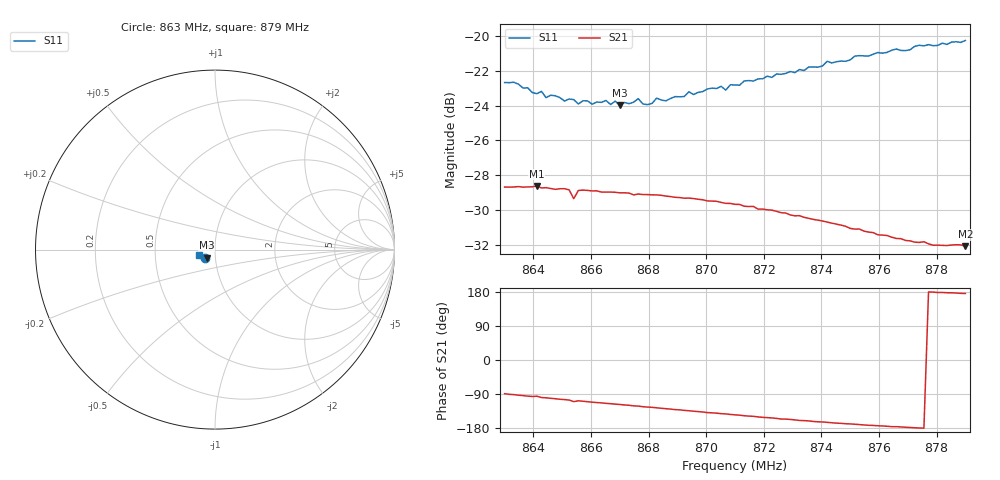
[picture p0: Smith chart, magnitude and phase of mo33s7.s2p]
# HZ S RI R 50
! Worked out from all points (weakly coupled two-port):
!   101 points, 863 MHz to 879 MHz, reference 50 ohm
!   highest |S21| = -28.60 dB at 864.12 MHz (marker M1); lowest = -32.0 dB at 879 MHz (marker M2)
!   lowest |S11| = -24.0 dB at 867 MHz (marker M3), VSWR 1.13, Z = 45.5 - j4.06 ohm
!   |S11| at or under -10 dB: start of sweep to end of sweep
!   S12 and S22 are empty: the file has one direction only
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8.63e8  -0.0567 -0.0466  0.000714 -0.0369  0 0  0 0
8.6332e8  -0.0579 -0.0453  -0.000896 -0.0369  0 0  0 0
8.6412e8  -0.0518 -0.0444  -0.00358 -0.037  0 0  0 0
8.6524e8  -0.0488 -0.0442  -0.00975 -0.0349  0 0  0 0
8.654e8  -0.0473 -0.0455  -0.0116 -0.0321  0 0  0 0
8.6556e8  -0.0463 -0.0438  -0.0109 -0.0343  0 0  0 0
8.6572e8  -0.0471 -0.0449  -0.0117 -0.0342  0 0  0 0
8.6604e8  -0.0456 -0.0444  -0.013 -0.0335  0 0  0 0
8.6652e8  -0.0461 -0.0461  -0.0148 -0.0325  0 0  0 0
8.6668e8  -0.0442 -0.0455  -0.0152 -0.0322  0 0  0 0
8.6684e8  -0.0456 -0.0462  -0.0158 -0.0319  0 0  0 0
8.67e8  -0.0448 -0.0444  -0.0163 -0.0315  0 0  0 0
8.6764e8  -0.0458 -0.0475  -0.0185 -0.03  0 0  0 0
8.6796e8  -0.0424 -0.0472  -0.0197 -0.029  0 0  0 0
8.6828e8  -0.0445 -0.0491  -0.0206 -0.0283  0 0  0 0
8.6844e8  -0.0441 -0.0483  -0.0212 -0.0278  0 0  0 0
8.7052e8  -0.0483 -0.0528  -0.0261 -0.0207  0 0  0 0
8.7068e8  -0.0461 -0.0525  -0.0262 -0.0203  0 0  0 0
8.71e8  -0.0497 -0.0524  -0.0269 -0.019  0 0  0 0
8.7372e8  -0.0601 -0.0547  -0.0284 -0.00911  0 0  0 0
8.7644e8  -0.0774 -0.0474  -0.0264 -0.0019  0 0  0 0
8.79e8  -0.0918 -0.0307  -0.0249 0.00197  0 0  0 0
